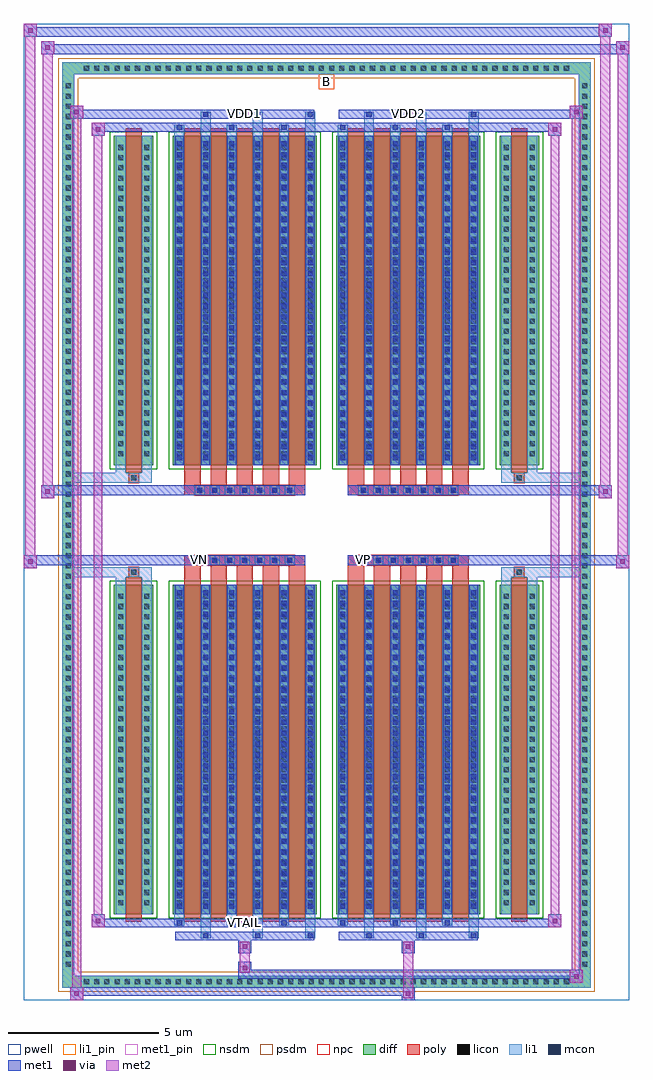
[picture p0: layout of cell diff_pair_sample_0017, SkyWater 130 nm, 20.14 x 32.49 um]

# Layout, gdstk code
import gdstk
lib = gdstk.Library(unit=1e-6, precision=5e-09)
def R(c, l, rs):  # rectangles x0, y0, x1, y1
    for r in rs: c.add(gdstk.rectangle(r[:2], r[2:], *l))
def A(c, l, x, y, w, h, nx, ny, dx, dy):  # array of equal rectangles
    R(c, l, [(x+i*dx, y+j*dy, x+i*dx+w, y+j*dy+h) for i in range(nx) for j in range(ny)])
def P(c, l, *ps):  # polygons
    for p in ps: c.add(gdstk.Polygon(p, *l))
pwell = (64, 44)
diff = (65, 20)
poly = (66, 20)
licon = (66, 44)
li1_pin = (67, 16)
li1 = (67, 20)
mcon = (67, 44)
met1_pin = (68, 16)
met1 = (68, 20)
via = (68, 44)
met2 = (69, 20)
nsdm = (93, 44)
psdm = (94, 20)
npc = (95, 20)

diff_pair_sample_0017 = lib.new_cell('diff_pair_sample_0017')
R(diff_pair_sample_0017, pwell, [(-10.07,-15.81,10.07,16.68), (-7.39,-14,-0.01,-0.8), (0.01,-14,7.39,-0.8), (-7.39,0.8,-0.01,14), (0.01,0.8,7.39,14)])
A(diff_pair_sample_0017, diff, -8.195, -15.41, 0.41, 0.41, 48, 2, 0.34, 30.41)
A(diff_pair_sample_0017, diff, -8.8, -14.825, 0.41, 0.41, 1, 87, 0, 0.34)
A(diff_pair_sample_0017, diff, 8.39, -14.825, 0.41, 0.41, 1, 87, 0, 0.34)
R(diff_pair_sample_0017, diff, [(-8.195,-15.41,8.195,-15), (-8.8,-14.825,-8.39,14.825), (8.39,-14.825,8.8,14.825), (-7.08,-12.955,-5.76,-1.985), (-5.12,-12.955,-0.32,-1.985), (0.32,-12.955,5.12,-1.985), (5.76,-12.955,7.08,-1.985), (-7.08,1.985,-5.76,12.955), (-5.12,1.985,-0.32,12.955), (0.32,1.985,5.12,12.955), (5.76,1.985,7.08,12.955), (-8.195,15,8.195,15.41)])
P(diff_pair_sample_0017, diff, [(8.8,15.41),(-8.8,15.41),(-8.8,-15),(-8.39,-15),(-8.39,15),(8.39,15),(8.39,-15),(-8.39,-15),(-8.8,-15),(-8.8,-15.41),(8.8,-15.41)])
A(diff_pair_sample_0017, poly, -4.73, -13.205, 0.54, 11.47, 5, 2, 0.87, 14.94)
A(diff_pair_sample_0017, poly, 0.71, -13.205, 0.54, 11.47, 5, 2, 0.87, 14.94)
A(diff_pair_sample_0017, poly, -4.73, -1.735, 0.54, 0.405, 5, 2, 0.87, 3.065)
A(diff_pair_sample_0017, poly, 0.71, -1.735, 0.54, 0.405, 5, 2, 0.87, 3.065)
A(diff_pair_sample_0017, poly, -4.385, -1.33, 0.33, 0.33, 7, 2, 0.5, 2.33)
A(diff_pair_sample_0017, poly, 1.055, -1.33, 0.33, 0.33, 7, 2, 0.5, 2.33)
R(diff_pair_sample_0017, poly, [(-6.69,-13.205,-6.15,-1.735), (6.15,-13.205,6.69,-1.735), (-6.585,-1.735,-6.255,-1.405), (-6.585,-1.735,-6.255,-1.405), (6.255,-1.735,6.585,-1.405), (6.255,-1.735,6.585,-1.405), (-4.73,-1.33,-0.71,-1), (0.71,-1.33,4.73,-1), (-4.73,1,-0.71,1.33), (0.71,1,4.73,1.33), (-6.585,1.405,-6.255,1.735), (-6.585,1.405,-6.255,1.735), (6.255,1.405,6.585,1.735), (6.255,1.405,6.585,1.735), (-6.69,1.735,-6.15,13.205), (6.15,1.735,6.69,13.205)])
A(diff_pair_sample_0017, licon, -8.075, -15.29, 0.17, 0.17, 48, 2, 0.34, 30.41)
A(diff_pair_sample_0017, licon, -8.68, -14.705, 0.17, 0.17, 1, 87, 0, 0.34)
A(diff_pair_sample_0017, licon, 8.51, -14.705, 0.17, 0.17, 1, 87, 0, 0.34)
A(diff_pair_sample_0017, licon, -6.94, -12.655, 0.17, 0.17, 1, 31, 0, 0.34)
A(diff_pair_sample_0017, licon, -6.07, -12.655, 0.17, 0.17, 1, 31, 0, 0.34)
A(diff_pair_sample_0017, licon, -4.98, -12.655, 0.17, 0.17, 6, 31, 0.87, 0.34)
A(diff_pair_sample_0017, licon, 0.46, -12.655, 0.17, 0.17, 6, 31, 0.87, 0.34)
A(diff_pair_sample_0017, licon, 5.9, -12.655, 0.17, 0.17, 1, 31, 0, 0.34)
A(diff_pair_sample_0017, licon, 6.77, -12.655, 0.17, 0.17, 1, 31, 0, 0.34)
A(diff_pair_sample_0017, licon, -4.305, -1.25, 0.17, 0.17, 7, 2, 0.5, 2.33)
A(diff_pair_sample_0017, licon, 1.135, -1.25, 0.17, 0.17, 7, 2, 0.5, 2.33)
A(diff_pair_sample_0017, licon, -6.94, 2.285, 0.17, 0.17, 1, 31, 0, 0.34)
A(diff_pair_sample_0017, licon, -6.07, 2.285, 0.17, 0.17, 1, 31, 0, 0.34)
A(diff_pair_sample_0017, licon, -4.98, 2.285, 0.17, 0.17, 6, 31, 0.87, 0.34)
A(diff_pair_sample_0017, licon, 0.46, 2.285, 0.17, 0.17, 6, 31, 0.87, 0.34)
A(diff_pair_sample_0017, licon, 5.9, 2.285, 0.17, 0.17, 1, 31, 0, 0.34)
A(diff_pair_sample_0017, licon, 6.77, 2.285, 0.17, 0.17, 1, 31, 0, 0.34)
R(diff_pair_sample_0017, licon, [(-6.505,-1.655,-6.335,-1.485), (6.335,-1.655,6.505,-1.485), (-6.505,1.485,-6.335,1.655), (6.335,1.485,6.505,1.655)])
R(diff_pair_sample_0017, li1_pin, [(-0.25,14.5,0.25,15)])
A(diff_pair_sample_0017, li1, -8.155, -15.37, 0.33, 0.33, 48, 2, 0.34, 30.41)
A(diff_pair_sample_0017, li1, -8.76, -14.785, 0.33, 0.33, 1, 87, 0, 0.34)
A(diff_pair_sample_0017, li1, 8.43, -14.785, 0.33, 0.33, 1, 87, 0, 0.34)
A(diff_pair_sample_0017, li1, -4.19, -13.76, 0.33, 0.805, 3, 2, 1.74, 26.715)
A(diff_pair_sample_0017, li1, -4.11, -13.76, 0.17, 0.17, 3, 2, 1.74, 27.35)
A(diff_pair_sample_0017, li1, 1.25, -13.76, 0.33, 0.805, 3, 2, 1.74, 26.715)
A(diff_pair_sample_0017, li1, 1.33, -13.76, 0.17, 0.17, 3, 2, 1.74, 27.35)
A(diff_pair_sample_0017, li1, -5.06, -13.33, 0.33, 0.375, 3, 2, 1.74, 26.285)
A(diff_pair_sample_0017, li1, -4.98, -13.33, 0.17, 0.17, 3, 2, 1.74, 26.49)
A(diff_pair_sample_0017, li1, 0.38, -13.33, 0.33, 0.375, 3, 2, 1.74, 26.285)
A(diff_pair_sample_0017, li1, 0.46, -13.33, 0.17, 0.17, 3, 2, 1.74, 26.49)
A(diff_pair_sample_0017, li1, -5.06, -12.955, 0.33, 10.97, 6, 2, 0.87, 14.94)
A(diff_pair_sample_0017, li1, 0.38, -12.955, 0.33, 10.97, 6, 2, 0.87, 14.94)
A(diff_pair_sample_0017, li1, -4.98, -12.775, 0.17, 0.17, 6, 30, 0.87, 0.36)
A(diff_pair_sample_0017, li1, -4.98, -12.775, 0.17, 10.61, 6, 2, 0.87, 14.94)
A(diff_pair_sample_0017, li1, 0.46, -12.775, 0.17, 0.17, 6, 30, 0.87, 0.36)
A(diff_pair_sample_0017, li1, 0.46, -12.775, 0.17, 10.61, 6, 2, 0.87, 14.94)
A(diff_pair_sample_0017, li1, -7.02, -12.735, 0.33, 0.33, 1, 31, 0, 0.34)
A(diff_pair_sample_0017, li1, -6.15, -12.735, 0.33, 0.33, 1, 31, 0, 0.34)
A(diff_pair_sample_0017, li1, -5.06, -12.735, 0.33, 0.33, 6, 31, 0.87, 0.34)
A(diff_pair_sample_0017, li1, 0.38, -12.735, 0.33, 0.33, 6, 31, 0.87, 0.34)
A(diff_pair_sample_0017, li1, 5.82, -12.735, 0.33, 0.33, 1, 31, 0, 0.34)
A(diff_pair_sample_0017, li1, 6.69, -12.735, 0.33, 0.33, 1, 31, 0, 0.34)
A(diff_pair_sample_0017, li1, -4.385, -1.33, 0.33, 0.33, 7, 2, 0.5, 2.33)
A(diff_pair_sample_0017, li1, 1.055, -1.33, 0.33, 0.33, 7, 2, 0.5, 2.33)
A(diff_pair_sample_0017, li1, -4.98, 2.165, 0.17, 0.17, 6, 30, 0.87, 0.36)
A(diff_pair_sample_0017, li1, 0.46, 2.165, 0.17, 0.17, 6, 30, 0.87, 0.36)
A(diff_pair_sample_0017, li1, -7.02, 2.205, 0.33, 0.33, 1, 31, 0, 0.34)
A(diff_pair_sample_0017, li1, -6.15, 2.205, 0.33, 0.33, 1, 31, 0, 0.34)
A(diff_pair_sample_0017, li1, -5.06, 2.205, 0.33, 0.33, 6, 31, 0.87, 0.34)
A(diff_pair_sample_0017, li1, 0.38, 2.205, 0.33, 0.33, 6, 31, 0.87, 0.34)
A(diff_pair_sample_0017, li1, 5.82, 2.205, 0.33, 0.33, 1, 31, 0, 0.34)
A(diff_pair_sample_0017, li1, 6.69, 2.205, 0.33, 0.33, 1, 31, 0, 0.34)
R(diff_pair_sample_0017, li1, [(-8.8,-15.41,-8.39,-15), (-8.8,-15.41,-8.39,-15), (-8.39,-15.41,8.39,-15), (8.39,-15.41,8.8,-15), (8.39,-15.41,8.8,-15), (-8.8,-15,-8.39,15), (8.39,-15,8.8,15), (-7.02,-12.955,-6.69,-1.985), (-6.15,-12.955,-5.82,-1.985), (5.82,-12.955,6.15,-1.985), (6.69,-12.955,7.02,-1.985), (-7.02,-1.985,-6.69,-1.405), (-6.15,-1.985,-5.82,-1.405), (5.82,-1.985,6.15,-1.405), (6.69,-1.985,7.02,-1.405), (-8.8,-1.735,-6.585,-1.405), (-7.02,-1.735,-6.585,-1.405), (-6.585,-1.735,-6.255,-1.405), (-6.255,-1.735,-5.82,-1.405), (5.82,-1.735,6.255,-1.405), (6.255,-1.735,6.585,-1.405), (6.255,-1.735,8.8,-1.405), (6.585,-1.735,7.02,-1.405), (-8.8,1.405,-6.585,1.735), (-7.02,1.405,-6.585,1.735), (-7.02,1.405,-6.69,1.985), (-6.585,1.405,-6.255,1.735), (-6.255,1.405,-5.82,1.735), (-6.15,1.405,-5.82,1.985), (5.82,1.405,6.255,1.735), (5.82,1.405,6.15,1.985), (6.255,1.405,6.585,1.735), (6.255,1.405,8.8,1.735), (6.585,1.405,7.02,1.735), (6.69,1.405,7.02,1.985), (-7.02,1.985,-6.69,12.955), (-6.15,1.985,-5.82,12.955), (5.82,1.985,6.15,12.955), (6.69,1.985,7.02,12.955), (-8.8,15,-8.39,15.41), (-8.8,15,-8.39,15.41), (-8.39,15,8.39,15.41), (8.39,15,8.8,15.41), (8.39,15,8.8,15.41)])
A(diff_pair_sample_0017, mcon, -4.11, -13.76, 0.17, 0.17, 3, 2, 1.74, 27.35)
A(diff_pair_sample_0017, mcon, 1.33, -13.76, 0.17, 0.17, 3, 2, 1.74, 27.35)
A(diff_pair_sample_0017, mcon, -4.98, -13.33, 0.17, 0.17, 3, 2, 1.74, 26.49)
A(diff_pair_sample_0017, mcon, 0.46, -13.33, 0.17, 0.17, 3, 2, 1.74, 26.49)
A(diff_pair_sample_0017, mcon, -4.98, -12.775, 0.17, 0.17, 6, 30, 0.87, 0.36)
A(diff_pair_sample_0017, mcon, 0.46, -12.775, 0.17, 0.17, 6, 30, 0.87, 0.36)
A(diff_pair_sample_0017, mcon, -4.305, -1.25, 0.17, 0.17, 7, 2, 0.5, 2.33)
A(diff_pair_sample_0017, mcon, 1.135, -1.25, 0.17, 0.17, 7, 2, 0.5, 2.33)
A(diff_pair_sample_0017, mcon, -4.98, 2.165, 0.17, 0.17, 6, 30, 0.87, 0.36)
A(diff_pair_sample_0017, mcon, 0.46, 2.165, 0.17, 0.17, 6, 30, 0.87, 0.36)
R(diff_pair_sample_0017, met1_pin, [(-2.855,-13.37,-2.585,-13.1), (-4.355,-1.29,-4.085,-1.02), (1.085,-1.29,1.355,-1.02), (-2.855,13.55,-2.585,13.82), (2.585,13.55,2.855,13.82)])
A(diff_pair_sample_0017, met1, -4.17, -13.82, 0.29, 0.29, 3, 2, 1.74, 27.35)
A(diff_pair_sample_0017, met1, 1.27, -13.82, 0.29, 0.29, 3, 2, 1.74, 27.35)
A(diff_pair_sample_0017, met1, -5.04, -13.39, 0.29, 0.29, 3, 2, 1.74, 26.49)
A(diff_pair_sample_0017, met1, 0.4, -13.39, 0.29, 0.29, 3, 2, 1.74, 26.49)
A(diff_pair_sample_0017, met1, -5.04, -12.955, 0.29, 10.97, 6, 2, 0.87, 14.94)
A(diff_pair_sample_0017, met1, 0.4, -12.955, 0.29, 10.97, 6, 2, 0.87, 14.94)
A(diff_pair_sample_0017, met1, -5.04, -12.835, 0.29, 0.29, 6, 30, 0.87, 0.36)
A(diff_pair_sample_0017, met1, 0.4, -12.835, 0.29, 0.29, 6, 30, 0.87, 0.36)
A(diff_pair_sample_0017, met1, -4.365, -1.31, 0.29, 0.29, 7, 2, 0.5, 2.33)
A(diff_pair_sample_0017, met1, 1.075, -1.31, 0.29, 0.29, 7, 2, 0.5, 2.33)
A(diff_pair_sample_0017, met1, -5.04, 2.105, 0.29, 0.29, 6, 30, 0.87, 0.36)
A(diff_pair_sample_0017, met1, 0.4, 2.105, 0.29, 0.29, 6, 30, 0.87, 0.36)
R(diff_pair_sample_0017, met1, [(-8.53,-15.81,-8.1,-15.38), (2.505,-15.81,2.935,-15.38), (-8.53,-15.67,2.935,-15.38), (8.1,-15.24,8.53,-14.81), (-2.935,-15.1,8.53,-14.81), (-2.935,-14.96,-2.505,-14.53), (-2.935,-14.25,-2.505,-13.82), (2.505,-14.25,2.935,-13.82), (-5.04,-13.82,-0.4,-13.53), (0.4,-13.82,5.04,-13.53), (-7.82,-13.39,-7.39,-12.96), (-7.82,-13.39,-5.04,-13.1), (-5.04,-13.39,-0.4,-13.1), (-0.4,-13.39,0.4,-13.1), (0.4,-13.39,5.04,-13.1), (5.04,-13.39,7.82,-13.1), (7.39,-13.39,7.82,-12.96), (-10.07,-1.43,-9.64,-1), (9.64,-1.43,10.07,-1), (-10.07,-1.33,-0.71,-1), (-4.73,-1.33,-0.71,-1), (0.71,-1.33,4.73,-1), (0.71,-1.33,10.07,-1), (-9.5,0.9,-9.07,1.33), (9.07,0.9,9.5,1.33), (-9.5,1,-4.73,1.33), (-4.73,1,-0.71,1.33), (0.71,1,4.73,1.33), (4.73,1,9.5,1.33), (-7.82,12.96,-7.39,13.39), (7.39,12.96,7.82,13.39), (-7.82,13.1,-5.04,13.39), (-5.04,13.1,-0.4,13.39), (-0.4,13.1,0.4,13.39), (0.4,13.1,5.04,13.39), (5.04,13.1,7.82,13.39), (-8.53,13.53,-8.1,13.96), (-8.53,13.53,-5.04,13.82), (-5.04,13.53,-0.4,13.82), (0.4,13.53,5.04,13.82), (5.04,13.53,8.53,13.82), (8.1,13.53,8.53,13.96), (-9.5,15.68,-9.07,16.11), (-9.5,15.68,-7.39,16.01), (-7.39,15.68,7.39,16.01), (7.39,15.68,10.07,16.01), (9.64,15.68,10.07,16.11), (-10.07,16.25,-9.64,16.68), (-10.07,16.25,-7.39,16.58), (-7.39,16.25,7.39,16.58), (7.39,16.25,9.5,16.58), (9.07,16.25,9.5,16.68)])
R(diff_pair_sample_0017, via, [(-8.39,-15.67,-8.24,-15.52), (2.645,-15.67,2.795,-15.52), (8.24,-15.1,8.39,-14.95), (-2.795,-14.82,-2.645,-14.67), (-2.795,-14.11,-2.645,-13.96), (2.645,-14.11,2.795,-13.96), (-7.68,-13.25,-7.53,-13.1), (7.53,-13.25,7.68,-13.1), (-9.93,-1.29,-9.78,-1.14), (9.78,-1.29,9.93,-1.14), (-9.36,1.04,-9.21,1.19), (9.21,1.04,9.36,1.19), (-7.68,13.1,-7.53,13.25), (7.53,13.1,7.68,13.25), (-8.39,13.67,-8.24,13.82), (8.24,13.67,8.39,13.82), (-9.36,15.82,-9.21,15.97), (9.78,15.82,9.93,15.97), (-9.93,16.39,-9.78,16.54), (9.21,16.39,9.36,16.54)])
R(diff_pair_sample_0017, met2, [(-8.53,-15.81,-8.1,-15.38), (-8.46,-15.81,-8.17,13.96), (-8.17,-15.81,-8.1,-15.38), (-8.48,-15.76,-8.15,-15.43), (2.555,-15.76,2.885,-15.43), (2.555,-15.43,2.885,-14.2), (8.1,-15.24,8.53,-14.81), (8.17,-15.24,8.46,13.96), (8.46,-15.24,8.53,-14.81), (8.15,-15.19,8.48,-14.86), (-2.885,-14.91,-2.555,-14.58), (-2.885,-14.58,-2.555,-14.2), (-2.885,-14.2,-2.555,-13.87), (2.555,-14.2,2.885,-13.87), (-7.82,-13.39,-7.39,-12.96), (-7.75,-13.39,-7.46,13.39), (-7.46,-13.39,-7.39,-12.96), (7.39,-13.39,7.82,-12.96), (7.46,-13.39,7.75,13.39), (7.75,-13.39,7.82,-12.96), (-7.77,-13.34,-7.44,-13.01), (7.44,-13.34,7.77,-13.01), (-10.07,-1.43,-9.64,-1), (-10.02,-1.43,-9.69,16.68), (-9.69,-1.43,-9.64,-1), (9.64,-1.43,10.07,-1), (9.69,-1.43,10.02,16.11), (10.02,-1.43,10.07,-1), (-10.02,-1.38,-9.69,-1.05), (9.69,-1.38,10.02,-1.05), (-9.5,0.9,-9.07,1.33), (-9.45,0.9,-9.12,16.11), (-9.12,0.9,-9.07,1.33), (9.07,0.9,9.5,1.33), (9.12,0.9,9.45,16.68), (9.45,0.9,9.5,1.33), (-9.45,0.95,-9.12,1.28), (9.12,0.95,9.45,1.28), (-7.82,12.96,-7.39,13.39), (-7.46,12.96,-7.39,13.39), (7.39,12.96,7.82,13.39), (7.75,12.96,7.82,13.39), (-7.77,13.01,-7.44,13.34), (7.44,13.01,7.77,13.34), (-8.53,13.53,-8.1,13.96), (-8.17,13.53,-8.1,13.96), (8.1,13.53,8.53,13.96), (8.46,13.53,8.53,13.96), (-8.48,13.58,-8.15,13.91), (8.15,13.58,8.48,13.91), (-9.5,15.68,-9.07,16.11), (-9.12,15.68,-9.07,16.11), (9.64,15.68,10.07,16.11), (10.02,15.68,10.07,16.11), (-9.45,15.73,-9.12,16.06), (9.69,15.73,10.02,16.06), (-10.07,16.25,-9.64,16.68), (-9.69,16.25,-9.64,16.68), (9.07,16.25,9.5,16.68), (9.45,16.25,9.5,16.68), (-10.02,16.3,-9.69,16.63), (9.12,16.3,9.45,16.63)])
R(diff_pair_sample_0017, nsdm, [(-7.21,-13.085,-5.63,-1.855), (-5.25,-13.085,-0.19,-1.855), (0.19,-13.085,5.25,-1.855), (5.63,-13.085,7.21,-1.855), (-7.21,1.855,-5.63,13.085), (-5.25,1.855,-0.19,13.085), (0.19,1.855,5.25,13.085), (5.63,1.855,7.21,13.085)])
P(diff_pair_sample_0017, psdm, [(8.93,15.54),(-8.93,15.54),(-8.93,-14.87),(-8.26,-14.87),(-8.26,14.87),(8.26,14.87),(8.26,-14.87),(-8.26,-14.87),(-8.93,-14.87),(-8.93,-15.54),(8.93,-15.54)])
A(diff_pair_sample_0017, npc, -4.405, -1.35, 0.37, 0.37, 7, 2, 0.5, 2.33)
A(diff_pair_sample_0017, npc, 1.035, -1.35, 0.37, 0.37, 7, 2, 0.5, 2.33)
R(diff_pair_sample_0017, npc, [(-6.605,-1.755,-6.235,-1.385), (6.235,-1.755,6.605,-1.385), (-4.405,-1.35,-3.535,-0.98), (-4.405,-1.35,-3.535,-0.98), (-3.905,-1.35,-3.035,-0.98), (-3.905,-1.35,-3.035,-0.98), (-3.405,-1.35,-2.535,-0.98), (-3.405,-1.35,-2.535,-0.98), (-2.905,-1.35,-2.035,-0.98), (-2.905,-1.35,-2.035,-0.98), (-2.405,-1.35,-1.535,-0.98), (-2.405,-1.35,-1.535,-0.98), (-1.905,-1.35,-1.035,-0.98), (-1.905,-1.35,-1.035,-0.98), (1.035,-1.35,1.905,-0.98), (1.035,-1.35,1.905,-0.98), (1.535,-1.35,2.405,-0.98), (1.535,-1.35,2.405,-0.98), (2.035,-1.35,2.905,-0.98), (2.035,-1.35,2.905,-0.98), (2.535,-1.35,3.405,-0.98), (2.535,-1.35,3.405,-0.98), (3.035,-1.35,3.905,-0.98), (3.035,-1.35,3.905,-0.98), (3.535,-1.35,4.405,-0.98), (3.535,-1.35,4.405,-0.98), (-4.405,0.98,-3.535,1.35), (-4.405,0.98,-3.535,1.35), (-3.905,0.98,-3.035,1.35), (-3.905,0.98,-3.035,1.35), (-3.405,0.98,-2.535,1.35), (-3.405,0.98,-2.535,1.35), (-2.905,0.98,-2.035,1.35), (-2.905,0.98,-2.035,1.35), (-2.405,0.98,-1.535,1.35), (-2.405,0.98,-1.535,1.35), (-1.905,0.98,-1.035,1.35), (-1.905,0.98,-1.035,1.35), (1.035,0.98,1.905,1.35), (1.035,0.98,1.905,1.35), (1.535,0.98,2.405,1.35), (1.535,0.98,2.405,1.35), (2.035,0.98,2.905,1.35), (2.035,0.98,2.905,1.35), (2.535,0.98,3.405,1.35), (2.535,0.98,3.405,1.35), (3.035,0.98,3.905,1.35), (3.035,0.98,3.905,1.35), (3.535,0.98,4.405,1.35), (3.535,0.98,4.405,1.35), (-6.605,1.385,-6.235,1.755), (6.235,1.385,6.605,1.755)])
diff_pair_sample_0017.add(gdstk.Label('VTAIL', (-2.72,-13.235), layer=68, texttype=5))
diff_pair_sample_0017.add(gdstk.Label('VN', (-4.22,-1.155), layer=68, texttype=5))
diff_pair_sample_0017.add(gdstk.Label('VP', (1.22,-1.155), layer=68, texttype=5))
diff_pair_sample_0017.add(gdstk.Label('B', (0,14.75), layer=67, texttype=5))
diff_pair_sample_0017.add(gdstk.Label('VDD2', (2.72,13.685), layer=68, texttype=5))
diff_pair_sample_0017.add(gdstk.Label('VDD1', (-2.72,13.685), layer=68, texttype=5))

lib.write_gds('diff_pair_sample_0017.gds')
